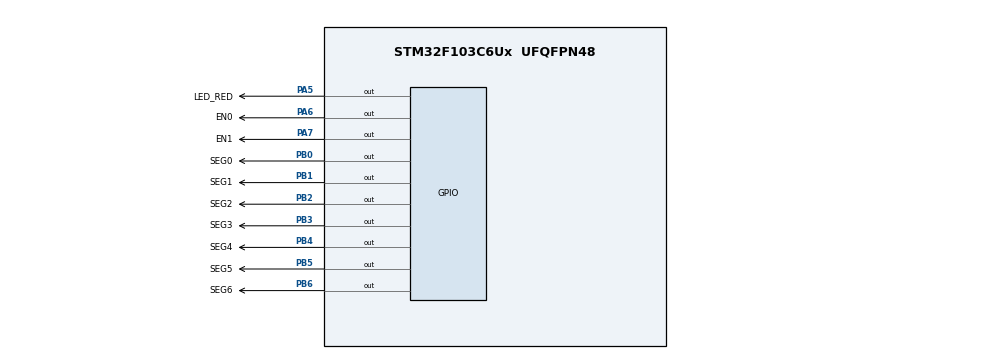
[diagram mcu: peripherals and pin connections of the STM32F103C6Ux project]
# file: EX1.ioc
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Mcu.Family=STM32F1
Mcu.Name=STM32F103C6Ux
Mcu.Package=UFQFPN48
NVIC.PriorityGroup=NVIC_PRIORITYGROUP_4
NVIC.TIM2_IRQn=true\:0\:0\:false\:false\:true\:true\:true
PA13.Mode=Serial_Wire
PA13.Signal=SYS_JTMS-SWDIO
PA14.Mode=Serial_Wire
PA14.Signal=SYS_JTCK-SWCLK
PA5.GPIO_Label=LED_RED
PA5.Signal=GPIO_Output
PA6.GPIO_Label=EN0
PA6.Signal=GPIO_Output
PA7.GPIO_Label=EN1
PA7.Signal=GPIO_Output
PB0.GPIO_Label=SEG0
PB0.Signal=GPIO_Output
PB1.GPIO_Label=SEG1
PB1.Signal=GPIO_Output
PB2.GPIO_Label=SEG2
PB2.Signal=GPIO_Output
PB3.GPIO_Label=SEG3
PB3.Signal=GPIO_Output
PB4.GPIO_Label=SEG4
PB4.Signal=GPIO_Output
PB5.GPIO_Label=SEG5
PB5.Signal=GPIO_Output
PB6.GPIO_Label=SEG6
PB6.Signal=GPIO_Output
ProjectManager.HeapSize=0x200
ProjectManager.StackSize=0x400
ProjectManager.TargetToolchain=STM32CubeIDE
RCC.APB1Freq_Value=8000000
RCC.APB2Freq_Value=8000000
TIM2.Period=9
TIM2.Prescaler=7999
VP_TIM2_VS_ClockSourceINT.Mode=Internal
board=custom

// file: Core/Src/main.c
/* USER CODE BEGIN Header */
/**
  ******************************************************************************
  * @file           : main.c
  * @brief          : Main program body
  ******************************************************************************
  * @attention
  *
  * <h2><center>&copy; Copyright (c) 2023 STMicroelectronics.
  * All rights reserved.</center></h2>
  *
  * This software component is licensed by ST under BSD 3-Clause license,
  * the "License"; You may not use this file except in compliance with the
  * License. You may obtain a copy of the License at:
  *                        opensource.org/licenses/BSD-3-Clause
  *
  ******************************************************************************
  */
/* USER CODE END Header */
#include "main.h"

TIM_HandleTypeDef htim2;

void SystemClock_Config(void);
static void MX_GPIO_Init(void);
static void MX_TIM2_Init(void);

int main(void)
{

  /* MCU Configuration--------------------------------------------------------*/

  /* Reset of all peripherals, Initializes the Flash interface and the Systick. */
  HAL_Init();

  /* Configure the system clock */
  SystemClock_Config();

  /* Initialize all configured peripherals */
  MX_GPIO_Init();
  MX_TIM2_Init();
  /* USER CODE BEGIN 2 */
  HAL_TIM_Base_Start_IT(&htim2);
  /* USER CODE END 2 */

  /* Infinite loop */
  while (1)
  {

  }
}

void SystemClock_Config(void)
{
  RCC_OscInitTypeDef RCC_OscInitStruct = {0};
  RCC_ClkInitTypeDef RCC_ClkInitStruct = {0};

  /** Initializes the RCC Oscillators according to the specified parameters
  * in the RCC_OscInitTypeDef structure.
  */
  RCC_OscInitStruct.OscillatorType = RCC_OSCILLATORTYPE_HSI;
  RCC_OscInitStruct.HSIState = RCC_HSI_ON;
  RCC_OscInitStruct.HSICalibrationValue = RCC_HSICALIBRATION_DEFAULT;
  RCC_OscInitStruct.PLL.PLLState = RCC_PLL_NONE;
  if (HAL_RCC_OscConfig(&RCC_OscInitStruct) != HAL_OK)
  {
    Error_Handler();
  }
  /** Initializes the CPU, AHB and APB buses clocks
  */
  RCC_ClkInitStruct.ClockType = RCC_CLOCKTYPE_HCLK|RCC_CLOCKTYPE_SYSCLK
                              |RCC_CLOCKTYPE_PCLK1|RCC_CLOCKTYPE_PCLK2;
  RCC_ClkInitStruct.SYSCLKSource = RCC_SYSCLKSOURCE_HSI;
  RCC_ClkInitStruct.AHBCLKDivider = RCC_SYSCLK_DIV1;
  RCC_ClkInitStruct.APB1CLKDivider = RCC_HCLK_DIV1;
  RCC_ClkInitStruct.APB2CLKDivider = RCC_HCLK_DIV1;

  if (HAL_RCC_ClockConfig(&RCC_ClkInitStruct, FLASH_LATENCY_0) != HAL_OK)
  {
    Error_Handler();
  }
}

static void MX_TIM2_Init(void)
{

  TIM_ClockConfigTypeDef sClockSourceConfig = {0};
  TIM_MasterConfigTypeDef sMasterConfig = {0};

  htim2.Instance = TIM2;
  htim2.Init.Prescaler = 7999;
  htim2.Init.CounterMode = TIM_COUNTERMODE_UP;
  htim2.Init.Period = 9;
  htim2.Init.ClockDivision = TIM_CLOCKDIVISION_DIV1;
  htim2.Init.AutoReloadPreload = TIM_AUTORELOAD_PRELOAD_DISABLE;
  if (HAL_TIM_Base_Init(&htim2) != HAL_OK)
  {
    Error_Handler();
  }
  sClockSourceConfig.ClockSource = TIM_CLOCKSOURCE_INTERNAL;
  if (HAL_TIM_ConfigClockSource(&htim2, &sClockSourceConfig) != HAL_OK)
  {
    Error_Handler();
  }
  sMasterConfig.MasterOutputTrigger = TIM_TRGO_RESET;
  sMasterConfig.MasterSlaveMode = TIM_MASTERSLAVEMODE_DISABLE;
  if (HAL_TIMEx_MasterConfigSynchronization(&htim2, &sMasterConfig) != HAL_OK)
  {
    Error_Handler();
  }

}

static void MX_GPIO_Init(void)
{
  GPIO_InitTypeDef GPIO_InitStruct = {0};

  /* GPIO Ports Clock Enable */
  __HAL_RCC_GPIOA_CLK_ENABLE();
  __HAL_RCC_GPIOB_CLK_ENABLE();

  /*Configure GPIO pin Output Level */
  HAL_GPIO_WritePin(GPIOA, LED_RED_Pin|EN0_Pin|EN1_Pin, GPIO_PIN_RESET);

  /*Configure GPIO pin Output Level */
  HAL_GPIO_WritePin(GPIOB, SEG0_Pin|SEG1_Pin|SEG2_Pin|SEG3_Pin
                          |SEG4_Pin|SEG5_Pin|SEG6_Pin, GPIO_PIN_RESET);

  /*Configure GPIO pins : LED_RED_Pin EN0_Pin EN1_Pin */
  GPIO_InitStruct.Pin = LED_RED_Pin|EN0_Pin|EN1_Pin;
  GPIO_InitStruct.Mode = GPIO_MODE_OUTPUT_PP;
  GPIO_InitStruct.Pull = GPIO_NOPULL;
  GPIO_InitStruct.Speed = GPIO_SPEED_FREQ_LOW;
  HAL_GPIO_Init(GPIOA, &GPIO_InitStruct);

  /*Configure GPIO pins : SEG0_Pin SEG1_Pin SEG2_Pin SEG3_Pin
                           SEG4_Pin SEG5_Pin SEG6_Pin */
  GPIO_InitStruct.Pin = SEG0_Pin|SEG1_Pin|SEG2_Pin|SEG3_Pin
                          |SEG4_Pin|SEG5_Pin|SEG6_Pin;
  GPIO_InitStruct.Mode = GPIO_MODE_OUTPUT_PP;
  GPIO_InitStruct.Pull = GPIO_NOPULL;
  GPIO_InitStruct.Speed = GPIO_SPEED_FREQ_LOW;
  HAL_GPIO_Init(GPIOB, &GPIO_InitStruct);

}

/* USER CODE BEGIN 4 */
void display7SEG( int num ){
    char LED7SEG [10] = {0xC0, 0xF9, 0xA4, 0xB0, 0x99, 0x92, 0x82, 0xF8, 0x80, 0x90 };
    for ( int i = 0; i < 7; ++ i) {
    HAL_GPIO_WritePin ( GPIOB , GPIO_PIN_0 << i , ( LED7SEG [num ] >> i ) & 1) ;}
    }
void pinenable(int a){
  	if (a == 0){
  		HAL_GPIO_WritePin(GPIOA, EN0_Pin, RESET);
  		HAL_GPIO_WritePin(GPIOA, EN1_Pin, SET);
  	}
  	if (a == 1){
  		HAL_GPIO_WritePin(GPIOA, EN0_Pin, SET);
  		HAL_GPIO_WritePin(GPIOA, EN1_Pin, RESET);
  	}
  }
 void LED7SEG( int index ){
  	switch (index) {
  		case 0:
  			display7SEG(1);
  			pinenable(0);
  		break;
  		case 1:
  			display7SEG(2);
  			pinenable(1);
  	}
  }
  int counter = 50;
  int status = 0;
  void HAL_TIM_PeriodElapsedCallback(TIM_HandleTypeDef *htim){
	  counter--;
	 	  	if (counter <=0){
	 	  		counter = 50;
	 	  		HAL_GPIO_TogglePin(GPIOA, LED_RED_Pin);
	 	  		LED7SEG(status);
	 	  		status++;
	 	  		if (status >1 ) status = 0;
	 	  	}
  }
/* USER CODE END 4 */

void Error_Handler(void)
{
  __disable_irq();
  while (1)
  {
  }
}

/************************ (C) COPYRIGHT STMicroelectronics *****END OF FILE****/
